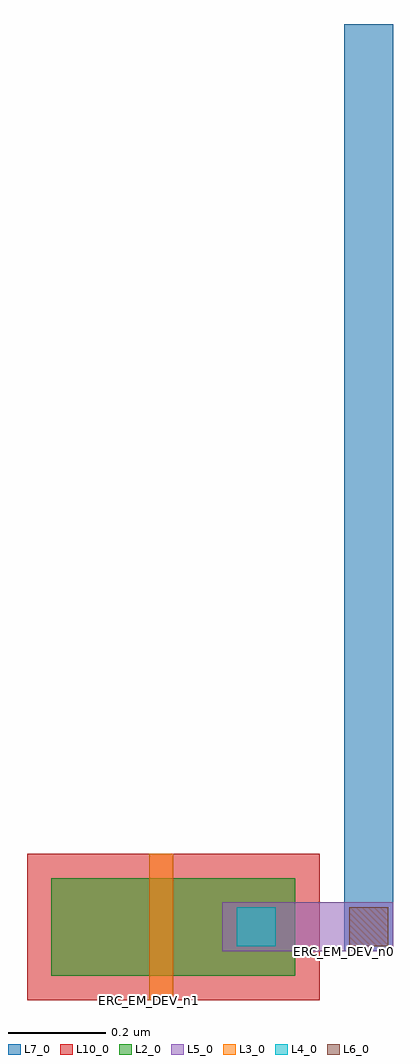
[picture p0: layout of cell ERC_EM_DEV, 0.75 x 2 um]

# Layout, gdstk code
import gdstk
lib = gdstk.Library(unit=1e-6, precision=1e-09)
def R(c, l, rs):  # rectangles x0, y0, x1, y1
    for r in rs: c.add(gdstk.rectangle(r[:2], r[2:], *l))
L2_0 = (2, 0)
L3_0 = (3, 0)
L4_0 = (4, 0)
L5_0 = (5, 0)
L6_0 = (6, 0)
L7_0 = (7, 0)
L10_0 = (10, 0)

erc_em_dev = lib.new_cell('ERC_EM_DEV')
R(erc_em_dev, L2_0, [(0,0,0.5,0.2)])
R(erc_em_dev, L3_0, [(0.2,-0.05,0.25,0.25)])
R(erc_em_dev, L4_0, [(0.38,0.06,0.46,0.14)])
R(erc_em_dev, L5_0, [(0.35,0.05,0.7,0.15)])
R(erc_em_dev, L6_0, [(0.61,0.06,0.69,0.14)])
R(erc_em_dev, L7_0, [(0.6,0.05,0.7,1.95)])
R(erc_em_dev, L10_0, [(-0.05,-0.05,0.55,0.25)])
erc_em_dev.add(gdstk.Label('ERC_EM_DEV_n0', (0.6,0.05), layer=7, texttype=5))
erc_em_dev.add(gdstk.Label('ERC_EM_DEV_n1', (0.2,-0.05), layer=3, texttype=5))

lib.write_gds('ERC_EM_DEV.gds')
